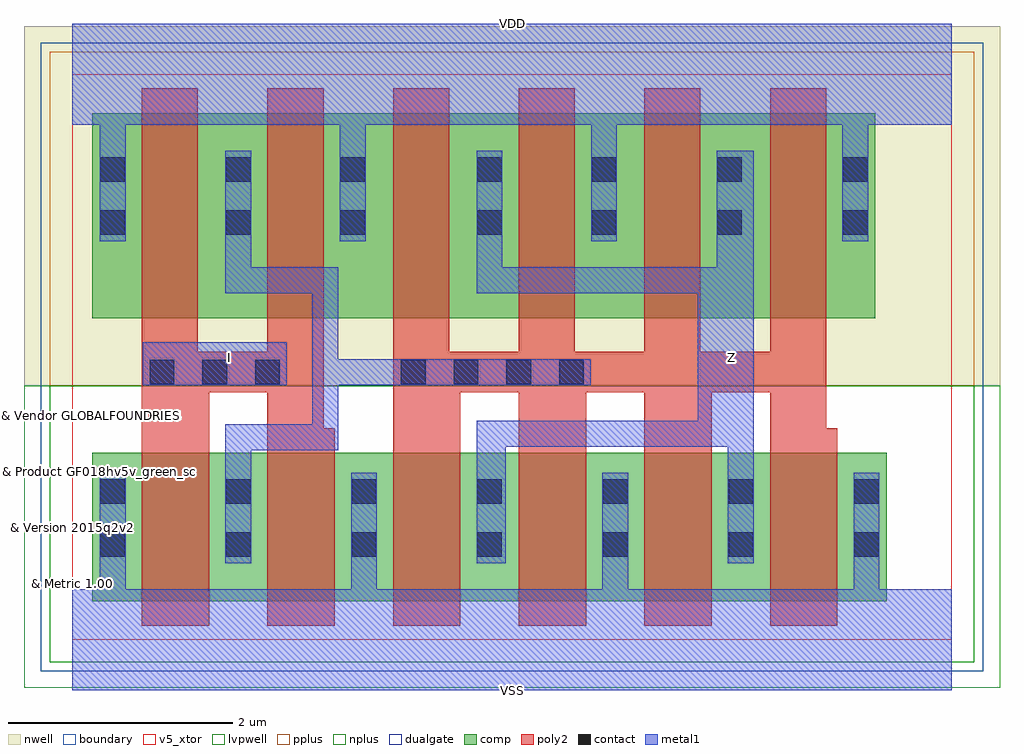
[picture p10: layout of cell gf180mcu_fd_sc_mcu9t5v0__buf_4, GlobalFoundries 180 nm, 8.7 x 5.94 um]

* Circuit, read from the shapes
.subckt gf180mcu_fd_sc_mcu9t5v0__buf_4 I VDD VSS Z
XM1 n1 I VSS VSUBS nfet_05v0 w=1.32u l=0.6u m=2
XM2 Z n1 VSS VSUBS nfet_05v0 w=1.32u l=0.6u m=4
XM3 n1 I VDD n2 pfet_05v0 w=1.83u l=0.5u m=2
XM4 Z n1 VDD n2 pfet_05v0 w=1.83u l=0.5u m=4
.ends

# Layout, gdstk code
import gdstk
lib = gdstk.Library(unit=1e-6, precision=1e-09)
def R(c, l, rs):  # rectangles x0, y0, x1, y1
    for r in rs: c.add(gdstk.rectangle(r[:2], r[2:], *l))
def A(c, l, x, y, w, h, nx, ny, dx, dy):  # array of equal rectangles
    R(c, l, [(x+i*dx, y+j*dy, x+i*dx+w, y+j*dy+h) for i in range(nx) for j in range(ny)])
def P(c, l, *ps):  # polygons
    for p in ps: c.add(gdstk.Polygon(p, *l))
boundary = (0, 0)
nwell = (21, 0)
comp = (22, 0)
poly2 = (30, 0)
pplus = (31, 0)
nplus = (32, 0)
contact = (33, 0)
metal1 = (34, 0)
dualgate = (55, 0)
v5_xtor = (112, 1)
lvpwell = (204, 0)

gf180mcu_fd_sc_mcu9t5v0_ = lib.new_cell('gf180mcu_fd_sc_mcu9t5v0__buf_4')
R(gf180mcu_fd_sc_mcu9t5v0_, boundary, [(0,0,7.84,5.04)])
R(gf180mcu_fd_sc_mcu9t5v0_, nwell, [(-0.43,2.265,8.27,5.47)])
R(gf180mcu_fd_sc_mcu9t5v0_, comp, [(0.18,0.345,7.26,1.665), (0.18,2.865,7.16,4.695)])
P(gf180mcu_fd_sc_mcu9t5v0_, poly2, [(0.62,0.125),(0.62,4.915),(1.12,4.915),(1.12,2.565),(1.74,2.565),(1.74,4.915),(2.24,4.915),(2.24,1.885),(2.34,1.885),(2.34,0.125),(1.74,0.125),(1.74,2.205),(1.22,2.205),(1.22,0.125)],
  [(2.86,0.125),(2.86,4.915),(3.36,4.915),(3.36,2.565),(3.98,2.565),(3.98,4.915),(4.48,4.915),(4.48,2.565),(5.1,2.565),(5.1,4.915),(5.6,4.915),(5.6,2.565),(6.22,2.565),(6.22,4.915),(6.72,4.915),(6.72,1.885),(6.82,1.885),(6.82,0.125),(6.22,0.125),(6.22,2.205),(5.7,2.205),(5.7,0.125),(5.1,0.125),(5.1,2.205),(4.58,2.205),(4.58,0.125),(3.98,0.125),(3.98,2.205),(3.46,2.205),(3.46,0.125)])
R(gf180mcu_fd_sc_mcu9t5v0_, pplus, [(-0.2,2.265,8.04,5.24)])
R(gf180mcu_fd_sc_mcu9t5v0_, nplus, [(-0.2,-0.2,8.04,2.265)])
A(gf180mcu_fd_sc_mcu9t5v0_, contact, 0.25, 0.74, 0.22, 0.22, 7, 2, 1.12, 0.47)
A(gf180mcu_fd_sc_mcu9t5v0_, contact, 0.69, 2.275, 0.22, 0.22, 3, 1, 0.47, 0)
A(gf180mcu_fd_sc_mcu9t5v0_, contact, 2.93, 2.275, 0.22, 0.22, 4, 1, 0.47, 0)
A(gf180mcu_fd_sc_mcu9t5v0_, contact, 4.63, 3.61, 0.22, 0.22, 3, 2, 1.12, 0.47)
R(gf180mcu_fd_sc_mcu9t5v0_, contact, [(0.25,3.61,0.47,3.83), (1.37,3.61,1.59,3.83), (2.39,3.61,2.61,3.83), (3.61,3.61,3.83,3.83), (0.25,4.08,0.47,4.3), (1.37,4.08,1.59,4.3), (2.39,4.08,2.61,4.3), (3.61,4.08,3.83,4.3)])
R(gf180mcu_fd_sc_mcu9t5v0_, metal1, [(0.63,2.27,1.91,2.65)])
P(gf180mcu_fd_sc_mcu9t5v0_, metal1, [(1.365,0.68),(1.365,1.92),(2.14,1.92),(2.14,3.09),(1.365,3.09),(1.365,4.36),(1.595,4.36),(1.595,3.32),(2.37,3.32),(2.37,2.5),(4.62,2.5),(4.62,2.27),(2.37,2.27),(2.37,1.69),(1.595,1.69),(1.595,0.68)],
  [(3.605,0.68),(3.605,1.95),(5.575,1.95),(5.575,3.09),(3.605,3.09),(3.605,4.36),(3.835,4.36),(3.835,3.32),(5.745,3.32),(5.745,4.36),(6.075,4.36),(6.075,0.68),(5.845,0.68),(5.845,1.72),(3.865,1.72),(3.865,0.68)],
  [(0,-0.45),(0,0.45),(0.245,0.45),(0.245,1.49),(0.475,1.49),(0.475,0.45),(2.485,0.45),(2.485,1.49),(2.715,1.49),(2.715,0.45),(4.725,0.45),(4.725,1.49),(4.955,1.49),(4.955,0.45),(6.965,0.45),(6.965,1.49),(7.195,1.49),(7.195,0.45),(7.84,0.45),(7.84,-0.45)],
  [(0.245,3.55),(0.245,4.59),(0,4.59),(0,5.49),(7.84,5.49),(7.84,4.59),(7.095,4.59),(7.095,3.55),(6.865,3.55),(6.865,4.59),(4.855,4.59),(4.855,3.55),(4.625,3.55),(4.625,4.59),(2.615,4.59),(2.615,3.55),(2.385,3.55),(2.385,4.59),(0.475,4.59),(0.475,3.55)])
R(gf180mcu_fd_sc_mcu9t5v0_, dualgate, [(-0.28,-0.28,8.12,5.32)])
R(gf180mcu_fd_sc_mcu9t5v0_, v5_xtor, [(0,0,7.84,5.04)])
R(gf180mcu_fd_sc_mcu9t5v0_, lvpwell, [(-0.43,-0.43,8.27,2.265)])
gf180mcu_fd_sc_mcu9t5v0_.add(gdstk.Label('I', (1.4,2.52), layer=34, texttype=10))
gf180mcu_fd_sc_mcu9t5v0_.add(gdstk.Label('VDD', (3.92,5.49), layer=34, texttype=10))
gf180mcu_fd_sc_mcu9t5v0_.add(gdstk.Label('VSS', (3.92,-0.45), layer=34, texttype=10))
gf180mcu_fd_sc_mcu9t5v0_.add(gdstk.Label('Z', (5.88,2.52), layer=34, texttype=10))
gf180mcu_fd_sc_mcu9t5v0_.add(gdstk.Label('& Vendor GLOBALFOUNDRIES', (0,2), layer=63, texttype=63))
gf180mcu_fd_sc_mcu9t5v0_.add(gdstk.Label('& Product GF018hv5v_green_sc9', (0,1.5), layer=63, texttype=63))
gf180mcu_fd_sc_mcu9t5v0_.add(gdstk.Label('& Version 2015q2v2', (0,1), layer=63, texttype=63))
gf180mcu_fd_sc_mcu9t5v0_.add(gdstk.Label('& Metric 1.00', (0,0.5), layer=63, texttype=63))

lib.write_gds('gf180mcu_fd_sc_mcu9t5v0__buf_4.gds')
